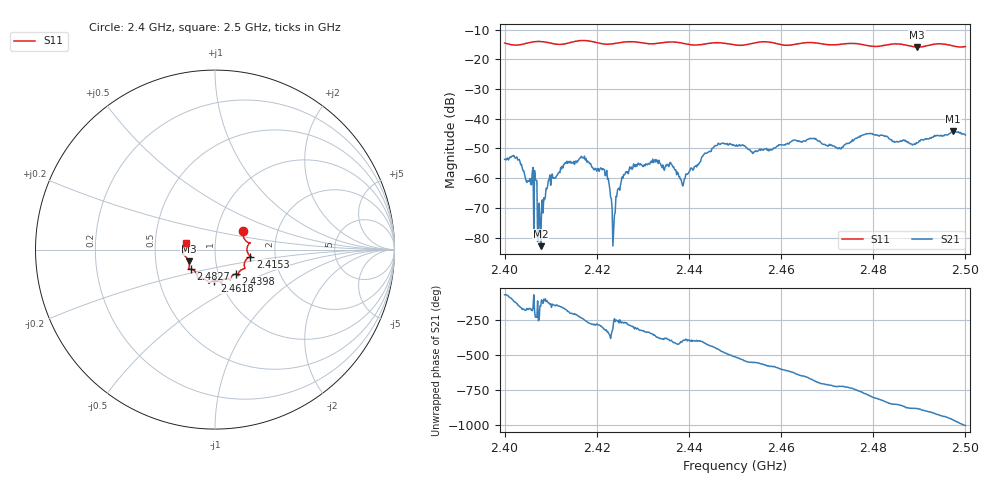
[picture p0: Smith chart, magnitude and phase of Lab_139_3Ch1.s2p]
# Hz S RI R 50
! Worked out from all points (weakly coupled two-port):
!   601 points, 2.4 GHz to 2.5 GHz, reference 50 ohm
!   highest |S21| = -44.22 dB at 2.4973 GHz (marker M1); lowest = -82.9 dB at 2.4078 GHz (marker M2)
!   lowest |S11| = -15.9 dB at 2.4895 GHz (marker M3), VSWR 1.38, Z = 36.9 - j4.99 ohm
!   |S11| at or under -10 dB: start of sweep to end of sweep
!   S12 and S22 are empty: the file has one direction only
!   S11 on the Smith chart (normalised r, x): 2.4 GHz: 1.33, +0.29; 2.4153 GHz: 1.48, -0.12; 2.4398 GHz: 1.21, -0.34; 2.4618 GHz: 0.94, -0.33; 2.4827 GHz: 0.75, -0.17; 2.5 GHz: 0.72, +0.06
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2.4e9  0.155 0.1064  0.000827 -0.0019  0 0  0 0
2.4065e9  0.194 0.038  -0.00134 5.72e-05  0 0  0 0
2.407833e9  0.1953 0.0381  -6.12e-05 -3.75e-05  0 0  0 0
2.409833e9  0.1865 0.0286  -0.000795 -0.00081  0 0  0 0
2.415333e9  0.1967 -0.0388  -0.00167 0.000894  0 0  0 0
2.416667e9  0.2027 -0.0429  -0.00143 0.00186  0 0  0 0
2.421833e9  0.1691 -0.0623  0.000831 0.000726  0 0  0 0
2.4235e9  0.1629 -0.0824  4.63e-05 5.54e-05  0 0  0 0
2.426e9  0.1671 -0.1019  -0.000127 0.00113  0 0  0 0
2.433333e9  0.1299 -0.134  0.00171 -0.00047  0 0  0 0
2.4385e9  0.1259 -0.1385  0.000575 -0.000561  0 0  0 0
2.439833e9  0.1152 -0.1361  0.00102 -0.000624  0 0  0 0
2.446e9  0.0839 -0.1707  -0.000237 -0.00354  0 0  0 0
2.45e9  0.0648 -0.1616  -0.00312 -0.00167  0 0  0 0
2.461833e9  -0.00286 -0.1728  -0.000912 0.00386  0 0  0 0
2.466667e9  -0.0345 -0.1881  0.00315 0.00339  0 0  0 0
2.472667e9  -0.0776 -0.1602  0.00326 -0.000158  0 0  0 0
2.482667e9  -0.1349 -0.109  -0.00208 -0.00457  0 0  0 0
2.483333e9  -0.1402 -0.1085  -0.00267 -0.00385  0 0  0 0
2.4895e9  -0.1463 -0.0658  -0.00375 -0.00115  0 0  0 0
2.497333e9  -0.1678 -0.00305  -0.0026 0.00557  0 0  0 0
2.5e9  -0.1593 0.0389  0.00131 0.00515  0 0  0 0
